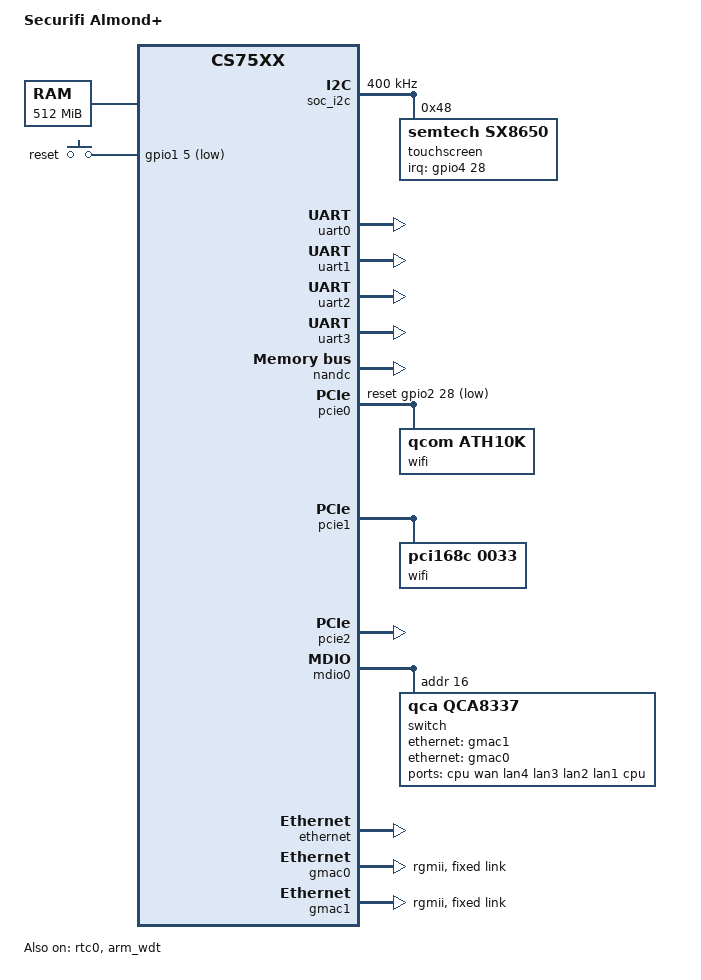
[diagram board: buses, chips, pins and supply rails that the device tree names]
// SPDX-License-Identifier: GPL-2.0-or-later OR MIT

/dts-v1/;
#include "cs75xx.dtsi"
#include <dt-bindings/gpio/gpio.h>
#include <dt-bindings/input/input.h>
#include <dt-bindings/interrupt-controller/irq.h>

/ {
	model = "Securifi Almond+";
	compatible = "securifi,almondplus", "cortina,cs7542", "cortina,cs75xx";

	aliases {
		label-mac-device = &gmac0;
	};

	memory@0 {
		device_type = "memory";
		reg = <0x00000000 0x20000000>;
	};

	reserved-memory {
		#address-cells = <1>;
		#size-cells = <1>;
		ranges;

		network-engine@1c000000 {
			reg = <0x1c000000 0x04000000>;
			no-map;
		};

		ramoops@1bf00000 {
			compatible = "ramoops";
			reg = <0x1bf00000 0x00100000>;
			record-size = <0x20000>;
			console-size = <0x80000>;
			pmsg-size = <0>;
			ftrace-size = <0>;
			ecc-size = <16>;
			no-map;
		};
	};

	keys {
		compatible = "gpio-keys-polled";
		poll-interval = <100>;

		reset {
			label = "reset";
			gpios = <&gpio1 5 GPIO_ACTIVE_LOW>;
			linux,code = <KEY_RESTART>;
		};
	};

	chosen {
		stdout-path = "serial0:115200n8";
	};
};

&soc_i2c {
	clock-frequency = <400000>;
	status = "okay";

	touchscreen@48 {
		compatible = "semtech,sx8650";
		reg = <0x48>;
		interrupt-parent = <&gpio4>;
		interrupts = <28 IRQ_TYPE_LEVEL_LOW>;
	};
};

&rtc0 {
	status = "okay";
};

&uart0 {
	status = "okay";
};

&uart1 {
	status = "okay";
};

&uart2 {
	status = "okay";
};

&uart3 {
	status = "okay";
};

&nandc {
	status = "okay";
	nand-ecc-mode = "hw";

	partitions {
		compatible = "fixed-partitions";
		#address-cells = <1>;
		#size-cells = <1>;

		partition@20000 {
			label = "uboot0";
			reg = <0x0020000 0x00e0000>;
			read-only;
		};

		partition@100000 {
			label = "uboot-env0";
			reg = <0x0100000 0x0020000>;

			nvmem-layout {
				compatible = "u-boot,env";

				ethaddr: ethaddr {
					#nvmem-cell-cells = <1>;
				};
			};
		};

		partition@200000 {
			label = "uboot1";
			reg = <0x0200000 0x0100000>;
			read-only;
		};

		partition@300000 {
			label = "uboot-env1";
			reg = <0x0300000 0x0100000>;
		};

		partition@400000 {
			label = "sb0";
			reg = <0x0400000 0x0100000>;
		};

		partition@500000 {
			label = "sb1";
			reg = <0x0500000 0x0100000>;
		};

		partition@600000 {
			label = "kernel_standby";
			reg = <0x0600000 0x0600000>;
		};

		partition@c00000 {
			label = "rootfs_standby";
			reg = <0x0c00000 0x2e00000>;
		};

		partition@3a00000 {
			label = "kernel";
			reg = <0x3a00000 0x0600000>;
		};

		partition@4000000 {
			label = "rootfs_stock";
			reg = <0x4000000 0x2e00000>;
		};

		partition@6e00000 {
			label = "stock_data";
			reg = <0x6e00000 0x1000000>;
		};

		partition@7e00000 {
			label = "log";
			reg = <0x7e00000 0x0100000>;
		};

		partition@7f00000 {
			label = "cal";
			reg = <0x7f00000 0x0100000>;
			read-only;

			nvmem-layout {
				compatible = "fixed-layout";
				#address-cells = <1>;
				#size-cells = <1>;

				cal_ath9k: cal@1000 {
					reg = <0x1000 0x440>;
				};

				cal_ath10k: cal@5000 {
					reg = <0x5000 0x844>;
				};
			};
		};

		partition@8000000 {
			label = "man";
			reg = <0x8000000 0x0100000>;
			read-only;
		};

		partition@8100000 {
			label = "almond_data";
			reg = <0x8100000 0x0500000>;
		};

		partition@8600000 {
			label = "ubi";
			reg = <0x8600000 0x17a00000>;
		};
	};
};

&pcie0 {
	status = "okay";
	reset-gpios = <&gpio2 28 GPIO_ACTIVE_LOW>;

	bridge@0,0 {
		reg = <0x0000 0 0 0 0>;
		#address-cells = <3>;
		#size-cells = <2>;
		ranges;

		wifi@0,0 {
			compatible = "qcom,ath10k";
			reg = <0x10000 0 0 0 0>;
			nvmem-cells = <&cal_ath10k>;
			nvmem-cell-names = "calibration";
		};
	};
};

&pcie1 {
	status = "okay";

	bridge@0,0 {
		reg = <0x0000 0 0 0 0>;
		#address-cells = <3>;
		#size-cells = <2>;
		ranges;

		wifi@0,0 {
			compatible = "pci168c,0033";
			reg = <0x10000 0 0 0 0>;
			nvmem-cells = <&cal_ath9k>;
			nvmem-cell-names = "calibration";
		};
	};
};

&pcie2 {
	status = "okay";
};

&mdio0 {
	status = "okay";

	switch@10 {
		compatible = "qca,qca8337";
		reg = <0x10>;
		#address-cells = <1>;
		#size-cells = <0>;

		ports {
			#address-cells = <1>;
			#size-cells = <0>;

			port@0 {
				reg = <0>;
				label = "cpu";
				ethernet = <&gmac1>;
				phy-mode = "rgmii-id";

				fixed-link {
					speed = <1000>;
					full-duplex;
				};
			};

			port@1 {
				reg = <1>;
				label = "wan";
				nvmem-cells = <&ethaddr 0>;
				nvmem-cell-names = "mac-address";
			};

			port@2 {
				reg = <2>;
				label = "lan4";
			};

			port@3 {
				reg = <3>;
				label = "lan3";
			};

			port@4 {
				reg = <4>;
				label = "lan2";
			};

			port@5 {
				reg = <5>;
				label = "lan1";
			};

			port@6 {
				reg = <6>;
				label = "cpu";
				ethernet = <&gmac0>;
				phy-mode = "rgmii-id";

				fixed-link {
					speed = <1000>;
					full-duplex;
				};
			};
		};
	};
};

&ethernet {
	status = "okay";
};

&gmac0 {
	status = "okay";
	phy-mode = "rgmii";
	nvmem-cells = <&ethaddr 0>;
	nvmem-cell-names = "mac-address";

	fixed-link {
		speed = <1000>;
		full-duplex;
	};
};

&gmac1 {
	status = "okay";
	phy-mode = "rgmii";
	nvmem-cells = <&ethaddr (-1)>;
	nvmem-cell-names = "mac-address";

	fixed-link {
		speed = <1000>;
		full-duplex;
	};
};

&arm_wdt {
	clocks = <&mainclk CS75XX_CLK_APB>;
	status = "okay";
};
